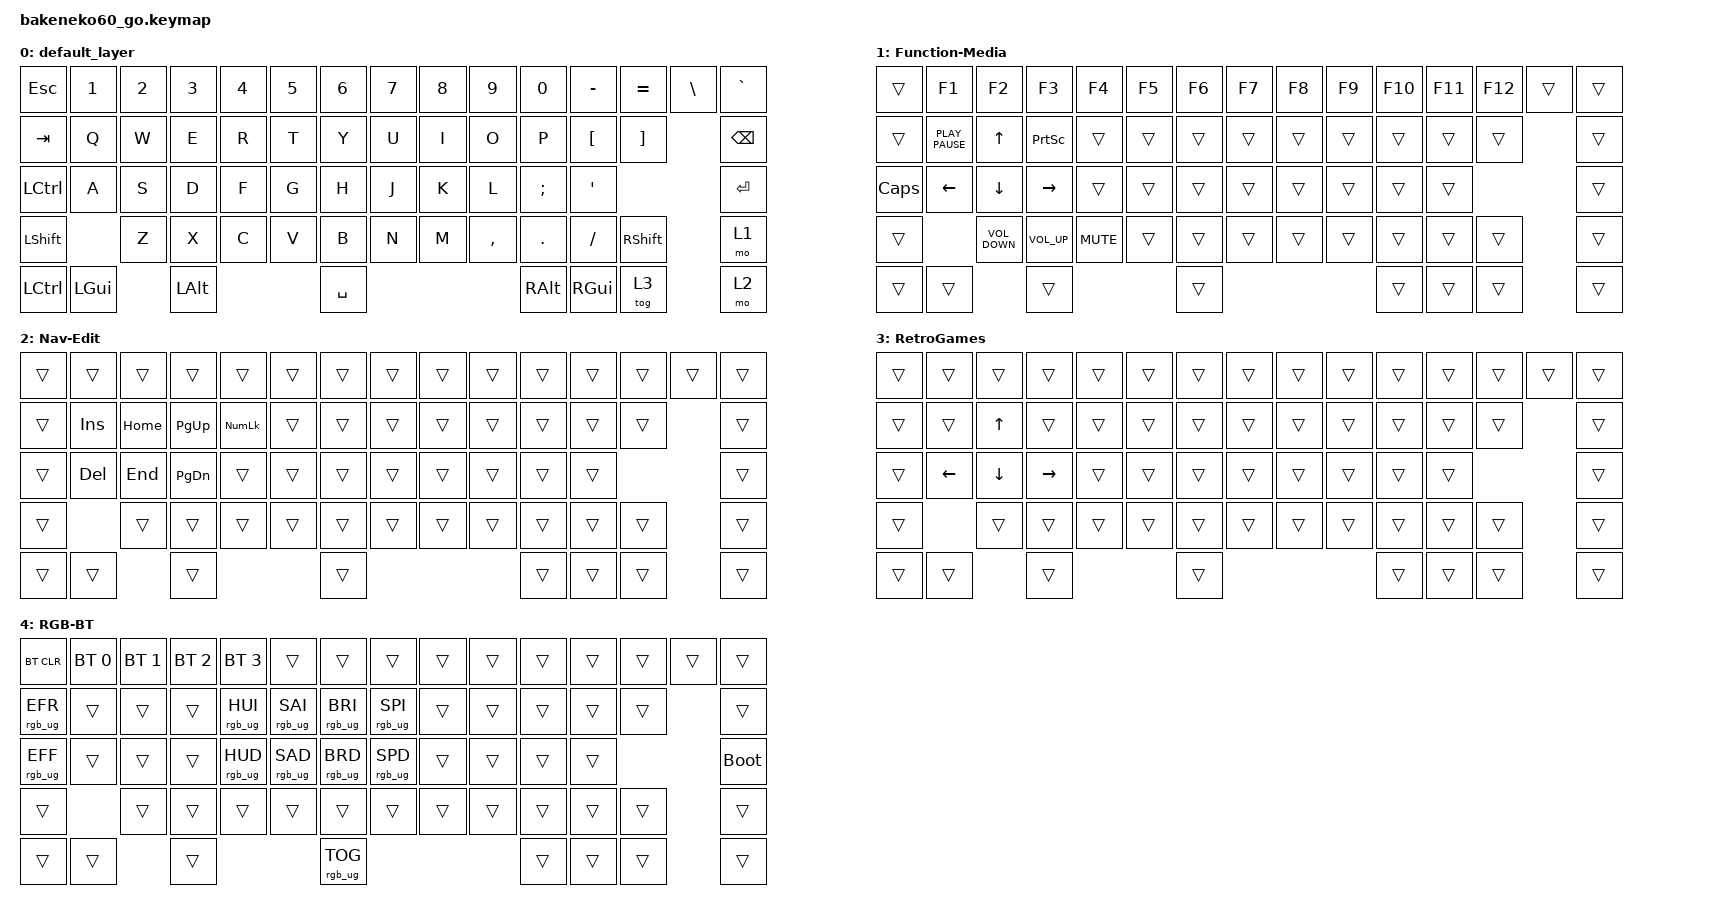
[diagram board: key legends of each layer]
/*
 * Copyright (c) 2023 Andrew Kannan
 *
 * SPDX-License-Identifier: MIT
 */

#include <behaviors.dtsi>
#include <dt-bindings/zmk/bt.h>
#include <dt-bindings/zmk/keys.h>
#include <dt-bindings/zmk/rgb.h>

/ {
    keymap {
        compatible = "zmk,keymap";

        default_layer {
            // ------------------------------------------------------------------------------------------
            // | ESC |  1  |  2  |  3  |  4  |  5  |  6  |  7  |  8  |  9  |  0  |  -  |  =  | BKSP|BKSP|
            // | TAB  |  Q  |  W  |  E  |  R  |  T  |  Y  |  U  |  I  |  O  |  P  |  [  |  ]  |   "|"   |
            // | CAPS  |  A  |  S  |  D  |  F  |  G  |  H  |  J  |  K  |  L  |  ;  |  '  |     ENTER    |
            // |  SHIFT  |  Z  |  X  |  C  |  V  |  B  |  N  |  M  |  ,  |  .  |  /  |  SHIFT  | MO(1)  |
            // |  CTL  |  WIN  |  ALT  |            SPACE              |  ALT  |  WIN  |  MO(1) |  CTL  |
            // ------------------------------------------------------------------------------------------

            bindings = <
&kp ESCAPE        &kp N1    &kp N2  &kp N3    &kp N4  &kp N5  &kp N6     &kp N7  &kp N8  &kp N9     &kp N0    &kp MINUS  &kp EQUAL  &kp BACKSLASH  &kp GRAVE
&kp TAB           &kp Q     &kp W   &kp E     &kp R   &kp T   &kp Y      &kp U   &kp I   &kp O      &kp P     &kp LBKT   &kp RBKT                  &kp BACKSPACE
&kp LEFT_CONTROL  &kp A     &kp S   &kp D     &kp F   &kp G   &kp H      &kp J   &kp K   &kp L      &kp SEMI  &kp SQT                              &kp RET
&kp LSHFT                   &kp Z   &kp X     &kp C   &kp V   &kp B      &kp N   &kp M   &kp COMMA  &kp DOT   &kp FSLH   &kp RSHFT                 &mo 1
&kp LCTRL         &kp LGUI          &kp LALT                  &kp SPACE                             &kp RALT  &kp RGUI   &tog 3                    &mo 2
            >;
        };

        Function-Media {
            bindings = <
&trans    &kp F1            &kp F2             &kp F3           &kp F4      &kp F5  &kp F6  &kp F7  &kp F8  &kp F9  &kp F10  &kp F11  &kp F12  &trans  &trans
&trans    &kp K_PLAY_PAUSE  &kp UP_ARROW       &kp PRINTSCREEN  &trans      &trans  &trans  &trans  &trans  &trans  &trans   &trans   &trans           &trans
&kp CAPS  &kp LEFT_ARROW    &kp DOWN_ARROW     &kp RIGHT_ARROW  &trans      &trans  &trans  &trans  &trans  &trans  &trans   &trans                    &trans
&trans                      &kp C_VOLUME_DOWN  &kp C_VOLUME_UP  &kp K_MUTE  &trans  &trans  &trans  &trans  &trans  &trans   &trans   &trans           &trans
&trans    &trans                               &trans                               &trans                          &trans   &trans   &trans           &trans
            >;
        };

        Nav-Edit {
            bindings = <
&trans  &trans      &trans    &trans         &trans          &trans  &trans  &trans  &trans  &trans  &trans  &trans  &trans  &trans  &trans
&trans  &kp INSERT  &kp HOME  &kp PAGE_UP    &kp KP_NUMLOCK  &trans  &trans  &trans  &trans  &trans  &trans  &trans  &trans          &trans
&trans  &kp DELETE  &kp END   &kp PAGE_DOWN  &trans          &trans  &trans  &trans  &trans  &trans  &trans  &trans                  &trans
&trans              &trans    &trans         &trans          &trans  &trans  &trans  &trans  &trans  &trans  &trans  &trans          &trans
&trans  &trans                &trans                                 &trans                          &trans  &trans  &trans          &trans
            >;
        };

        RetroGames {
            bindings = <
&trans  &trans          &trans          &trans           &trans  &trans  &trans  &trans  &trans  &trans  &trans  &trans  &trans  &trans  &trans
&trans  &trans          &kp UP_ARROW    &trans           &trans  &trans  &trans  &trans  &trans  &trans  &trans  &trans  &trans          &trans
&trans  &kp LEFT_ARROW  &kp DOWN_ARROW  &kp RIGHT_ARROW  &trans  &trans  &trans  &trans  &trans  &trans  &trans  &trans                  &trans
&trans                  &trans          &trans           &trans  &trans  &trans  &trans  &trans  &trans  &trans  &trans  &trans          &trans
&trans  &trans                          &trans                           &trans                          &trans  &trans  &trans          &trans
            >;
        };

        RGB-BT {
            bindings = <
&bt BT_CLR       &bt BT_SEL 0  &bt BT_SEL 1  &bt BT_SEL 2  &bt BT_SEL 3     &trans           &trans           &trans           &trans  &trans  &trans  &trans  &trans  &trans  &trans
&rgb_ug RGB_EFR  &trans        &trans        &trans        &rgb_ug RGB_HUI  &rgb_ug RGB_SAI  &rgb_ug RGB_BRI  &rgb_ug RGB_SPI  &trans  &trans  &trans  &trans  &trans          &trans
&rgb_ug RGB_EFF  &trans        &trans        &trans        &rgb_ug RGB_HUD  &rgb_ug RGB_SAD  &rgb_ug RGB_BRD  &rgb_ug RGB_SPD  &trans  &trans  &trans  &trans                  &bootloader
&trans                         &trans        &trans        &trans           &trans           &trans           &trans           &trans  &trans  &trans  &trans  &trans          &trans
&trans           &trans                      &trans                                          &rgb_ug RGB_TOG                                   &trans  &trans  &trans          &trans
            >;
        };
    };

    combos {
        compatible = "zmk,combos";

        combo_bt {
            timeout-ms = <50>;
            key-positions = <61 62>;
            bindings = <&mo 4>;
        };
    };
};
